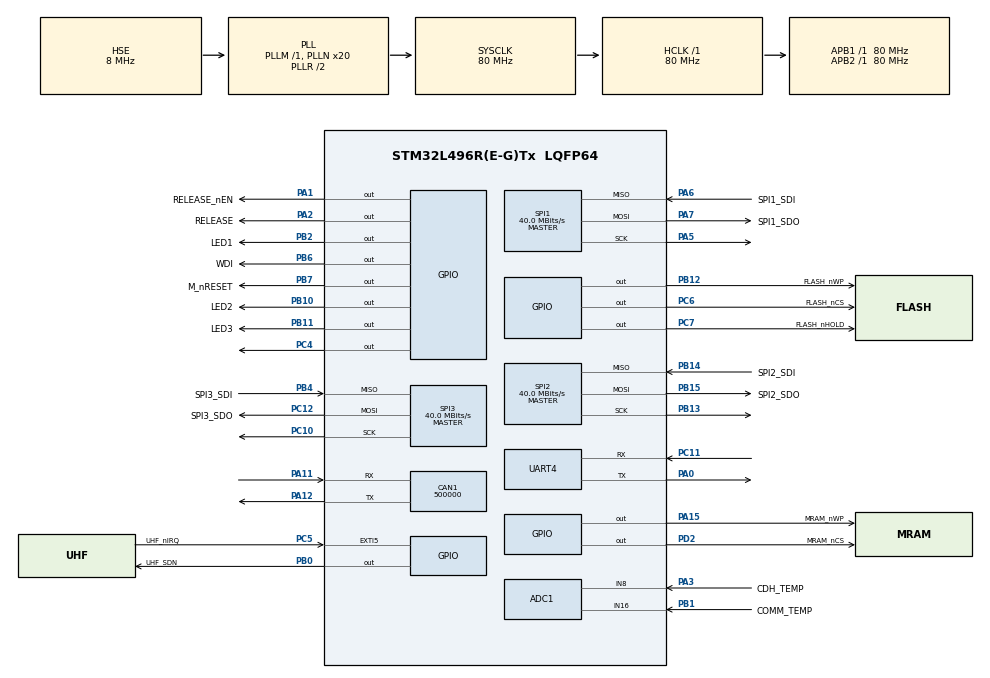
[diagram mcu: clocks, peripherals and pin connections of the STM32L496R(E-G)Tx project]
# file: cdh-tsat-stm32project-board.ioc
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ADC1.Channel-0\#ChannelRegularConversion=ADC_CHANNEL_8
ADC1.NbrOfConversionFlag=1
ADC1.OffsetNumber-0\#ChannelRegularConversion=ADC_OFFSET_NONE
ADC1.Rank-0\#ChannelRegularConversion=1
ADC1.SamplingTime-0\#ChannelRegularConversion=ADC_SAMPLETIME_2CYCLES_5
ADC1.master=1
CAN1.BS1=CAN_BS1_5TQ
CAN1.BS2=CAN_BS2_4TQ
CAN1.CalculateBaudRate=500000
CAN1.CalculateTimeBit=2000
CAN1.CalculateTimeQuantum=200.0
FREERTOS.Queues01=telemQueue,100,CANMessage,0,Dynamic,NULL,NULL;timeTagTaskInitQueue,10,CANMessage,0,Dynamic,NULL,NULL;setRTCQueue,10,CANMessage,0,Dynamic,NULL,NULL;notificationQueue,10,CANMessage,0,Dynamic,NULL,NULL
FREERTOS.Tasks01=blinkLED1,24,128,StartBlinkLED1,Default,NULL,Dynamic,NULL,NULL;blinkLED2,24,128,StartBlinkLED2,Default,NULL,Dynamic,NULL,NULL;blinkLED3,24,128,StartBlinkLED3,Default,NULL,Dynamic,NULL,NULL;toggleWDI,24,128,StartToggleWDI,Default,NULL,Dynamic,NULL,NULL;telemHandler,40,1024,StartTelemHandler,As external,NULL,Dynamic,NULL,NULL;timeTagTask,24,128,StartTimeTagTask,As external,NULL,Dynamic,NULL,NULL;stm32Reset,24,128,StartStm32Reset,Default,NULL,Dynamic,NULL,NULL;flashUnitTest,24,2048,StartFlashUnitTest,As external,NULL,Dynamic,NULL,NULL;mramUnitTest,24,256,StartMramUnitTest,As external,NULL,Dynamic,NULL,NULL;deployA,24,128,StartDeployA,As external,NULL,Dynamic,NULL,NULL;deployB,24,128,StartDeployB,As external,NULL,Dynamic,NULL,NULL;getTasksNum,24,128,StartGetTasksNum,As external,NULL,Dynamic,NULL,NULL;timeTagTaskInit,24,128,StartTimeTagTaskInit,As external,NULL,Dynamic,NULL,NULL;setRTC,24,128,StartSetRTC,As external,NULL,Dynamic,NULL,NULL;getRTC,24,128,StartGetRTC,As external,NULL,Dynamic,NULL,NULL;calculateBDot,32,128,StartBDot,As external,NULL,Dynamic,NULL,NULL;notifHandler,24,128,StartNotifHandler,As external,NULL,Dynamic,NULL,NULL;dharaUnitTest,24,256,StartDharaUnitTest,As external,NULL,Dynamic,NULL,NULL;storageUnitTest,24,256,StartStorageManagerUnitTest,As external,NULL,Dynamic,NULL,NULL
FREERTOS.configTOTAL_HEAP_SIZE=100000
FREERTOS.configUSE_NEWLIB_REENTRANT=1
Mcu.Family=STM32L4
Mcu.Name=STM32L496R(E-G)Tx
Mcu.Package=LQFP64
NVIC.CAN1_RX0_IRQn=true\:5\:0\:false\:false\:true\:true\:true\:true\:true
NVIC.PriorityGroup=NVIC_PRIORITYGROUP_4
NVIC.RTC_Alarm_IRQn=true\:5\:0\:false\:false\:true\:true\:true\:true\:true
NVIC.TIM6_DAC_IRQn=true\:15\:0\:false\:false\:true\:false\:false\:true\:true
NVIC.TimeBase=TIM6_DAC_IRQn
NVIC.TimeBaseIP=TIM6
PA0.Mode=Asynchronous
PA0.Signal=UART4_TX
PA1.GPIO_Label=RELEASE_nEN
PA1.PinState=GPIO_PIN_SET
PA1.Signal=GPIO_Output
PA11.Mode=CAN_Activate
PA11.Signal=CAN1_RX
PA12.Mode=CAN_Activate
PA12.Signal=CAN1_TX
PA13\ (JTMS/SWDIO).Mode=Trace_Asynchronous_SW
PA13\ (JTMS/SWDIO).Signal=SYS_JTMS-SWDIO
PA14\ (JTCK/SWCLK).Mode=Trace_Asynchronous_SW
PA14\ (JTCK/SWCLK).Signal=SYS_JTCK-SWCLK
PA15\ (JTDI).GPIO_Label=MRAM_nWP
PA15\ (JTDI).Signal=GPIO_Output
PA2.GPIO_Label=RELEASE
PA2.Signal=GPIO_Output
PA3.GPIO_Label=CDH_TEMP
PA3.Signal=ADCx_IN8
PA5.Mode=Full_Duplex_Master
PA5.Signal=SPI1_SCK
PA6.GPIO_Label=SPI1_SDI
PA6.Mode=Full_Duplex_Master
PA6.Signal=SPI1_MISO
PA7.GPIO_Label=SPI1_SDO
PA7.Mode=Full_Duplex_Master
PA7.Signal=SPI1_MOSI
PB0.GPIO_Label=UHF_SDN
PB0.Signal=GPIO_Output
PB1.GPIO_Label=COMM_TEMP
PB1.Signal=ADCx_IN16
PB10.GPIO_Label=LED2
PB10.Signal=GPIO_Output
PB11.GPIO_Label=LED3
PB11.Signal=GPIO_Output
PB12.GPIO_Label=FLASH_nWP
PB12.Signal=GPIO_Output
PB13.Mode=Full_Duplex_Master
PB13.Signal=SPI2_SCK
PB14.GPIO_Label=SPI2_SDI
PB14.Mode=Full_Duplex_Master
PB14.Signal=SPI2_MISO
PB15.GPIO_Label=SPI2_SDO
PB15.Mode=Full_Duplex_Master
PB15.Signal=SPI2_MOSI
PB2.GPIO_Label=LED1
PB2.Signal=GPIO_Output
PB3\ (JTDO/TRACESWO).Mode=Trace_Asynchronous_SW
PB3\ (JTDO/TRACESWO).Signal=SYS_JTDO-SWO
PB4\ (NJTRST).GPIO_Label=SPI3_SDI
PB4\ (NJTRST).Mode=Full_Duplex_Master
PB4\ (NJTRST).Signal=SPI3_MISO
PB6.GPIO_Label=WDI
PB6.Signal=GPIO_Output
PB7.GPIO_Label=M_nRESET
PB7.PinState=GPIO_PIN_SET
PB7.Signal=GPIO_Output
PC10.Mode=Full_Duplex_Master
PC10.Signal=SPI3_SCK
PC11.Mode=Asynchronous
PC11.Signal=UART4_RX
PC12.GPIO_Label=SPI3_SDO
PC12.Mode=Full_Duplex_Master
PC12.Signal=SPI3_MOSI
PC14-OSC32_IN\ (PC14).Mode=LSE-External-Oscillator
PC14-OSC32_IN\ (PC14).Signal=RCC_OSC32_IN
PC15-OSC32_OUT\ (PC15).Mode=LSE-External-Oscillator
PC15-OSC32_OUT\ (PC15).Signal=RCC_OSC32_OUT
PC4.Signal=GPIO_Output
PC5.GPIO_Label=UHF_nIRQ
PC5.Signal=GPXTI5
PC6.GPIO_Label=FLASH_nCS
PC6.PinState=GPIO_PIN_SET
PC6.Signal=GPIO_Output
PC7.GPIO_Label=FLASH_nHOLD
PC7.PinState=GPIO_PIN_SET
PC7.Signal=GPIO_Output
PD2.GPIO_Label=MRAM_nCS
PD2.PinState=GPIO_PIN_SET
PD2.Signal=GPIO_Output
PH0-OSC_IN\ (PH0).Mode=HSE-External-Oscillator
PH0-OSC_IN\ (PH0).Signal=RCC_OSC_IN
PH1-OSC_OUT\ (PH1).Mode=HSE-External-Oscillator
PH1-OSC_OUT\ (PH1).Signal=RCC_OSC_OUT
ProjectManager.HeapSize=0x200
ProjectManager.StackSize=0x400
ProjectManager.TargetToolchain=STM32CubeIDE
RCC.ADCFreq_Value=32000000
RCC.AHBFreq_Value=80000000
RCC.APB1Freq_Value=80000000
RCC.APB1TimFreq_Value=80000000
RCC.APB2Freq_Value=80000000
RCC.APB2TimFreq_Value=80000000
RCC.CortexFreq_Value=80000000
RCC.EnbaleCSS=true
RCC.HCLKFreq_Value=80000000
RCC.HSE_Timout=200
RCC.HSE_VALUE=8000000
RCC.HSI48_VALUE=48000000
RCC.HSI_VALUE=16000000
RCC.LSE_Drive_Capability=RCC_LSEDRIVE_MEDIUMHIGH
RCC.LSE_Timout=500
RCC.MSI_VALUE=4000000
RCC.PLLN=20
RCC.PLLSourceVirtual=RCC_PLLSOURCE_HSE
RCC.RTCClockSelection=RCC_RTCCLKSOURCE_LSE
RCC.SYSCLKFreq_VALUE=80000000
RCC.SYSCLKSource=RCC_SYSCLKSOURCE_PLLCLK
RCC.USBFreq_Value=32000000
RCC.VCOOutputFreq_Value=160000000
RTC.Alarm-Alarm\ A=RTC_ALARM_A
RTC.AlarmDateWeekDay-Alarm\ A=2
RTC.Format=RTC_FORMAT_BIN
SH.ADCx_IN16.0=ADC1_IN16,IN16-Single-Ended
SH.ADCx_IN8.0=ADC1_IN8,IN8-Single-Ended
SPI1.CalculateBaudRate=40.0 MBits/s
SPI1.DataSize=SPI_DATASIZE_8BIT
SPI1.Direction=SPI_DIRECTION_2LINES
SPI1.Mode=SPI_MODE_MASTER
SPI1.VirtualType=VM_MASTER
SPI2.CalculateBaudRate=40.0 MBits/s
SPI2.DataSize=SPI_DATASIZE_8BIT
SPI2.Direction=SPI_DIRECTION_2LINES
SPI2.Mode=SPI_MODE_MASTER
SPI2.VirtualType=VM_MASTER
SPI3.CalculateBaudRate=40.0 MBits/s
SPI3.DataSize=SPI_DATASIZE_8BIT
SPI3.Direction=SPI_DIRECTION_2LINES
SPI3.Mode=SPI_MODE_MASTER
SPI3.VirtualType=VM_MASTER
VP_CRC_VS_CRC.Mode=CRC_Activate
VP_FREERTOS_VS_CMSIS_V2.Mode=CMSIS_V2
VP_RTC_VS_RTC_Activate.Mode=RTC_Enabled
VP_RTC_VS_RTC_Alarm_A_Intern.Mode=Alarm A
VP_RTC_VS_RTC_Calendar.Mode=RTC_Calendar
VP_SYS_VS_tim6.Mode=TIM6
board=custom

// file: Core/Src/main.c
/* USER CODE BEGIN Header */
/**
  ******************************************************************************
  * @file           : main.c
  * @brief          : Main program body
  ******************************************************************************
  * @attention
  *
  * Copyright (c) 2024 STMicroelectronics.
  * All rights reserved.
  *
  * This software is licensed under terms that can be found in the LICENSE file
  * in the root directory of this software component.
  * If no LICENSE file comes with this software, it is provided AS-IS.
  *
  ******************************************************************************
  * AUTHORS:
  *  Daigh Burgess (daigh.burgess@umsats.ca)
  *   -Application Code
  *  Kyle James (kyle.james@umsats.ca)
  *   -RTC Interfacing
  *  Christina Duong (christina.duong@umsats.ca)
  *   -FreeRTOS Code
  */
/* USER CODE END Header */
#include "main.h"
#include "cmsis_os.h"

/* USER CODE BEGIN Includes */
#include <stdio.h>
#include <stdlib.h>

#include <tuk/tuk.h>

#include "W25N_driver.h"
#include "W25N_driver_test.h"
#include "Dhara_Wrapper.h"
#include "Dhara_test.h"
#include "StorageManager.h"
#include "AS3001204_driver.h"
#include "AS3001204_driver_test.h"
#include "LEDs_driver.h"
#include "MAX6822_driver.h"
#include "LTC1154_driver.h"
#include "telemetry.h"
#include "utils.h"
#include "rtc.h"
#include "task_control.h"
#include "bdot_algorithm.h"
#include "deployment_tasks.h"
#include "command_handling.h"
#include "notification_handling.h"
/* USER CODE END Includes */

ADC_HandleTypeDef hadc1;

CAN_HandleTypeDef hcan1;

CRC_HandleTypeDef hcrc;

RTC_HandleTypeDef hrtc;

SPI_HandleTypeDef hspi1;
SPI_HandleTypeDef hspi2;
SPI_HandleTypeDef hspi3;

UART_HandleTypeDef huart4;

/* Definitions for blinkLED1 */
osThreadId_t blinkLED1Handle;
const osThreadAttr_t blinkLED1_attributes = {
  .name = "blinkLED1",
  .stack_size = 128 * 4,
  .priority = (osPriority_t) osPriorityNormal,
};
/* Definitions for blinkLED2 */
osThreadId_t blinkLED2Handle;
const osThreadAttr_t blinkLED2_attributes = {
  .name = "blinkLED2",
  .stack_size = 128 * 4,
  .priority = (osPriority_t) osPriorityNormal,
};
/* Definitions for blinkLED3 */
osThreadId_t blinkLED3Handle;
const osThreadAttr_t blinkLED3_attributes = {
  .name = "blinkLED3",
  .stack_size = 128 * 4,
  .priority = (osPriority_t) osPriorityNormal,
};
/* Definitions for toggleWDI */
osThreadId_t toggleWDIHandle;
const osThreadAttr_t toggleWDI_attributes = {
  .name = "toggleWDI",
  .stack_size = 128 * 4,
  .priority = (osPriority_t) osPriorityNormal,
};
/* Definitions for telemHandler */
osThreadId_t telemHandlerHandle;
const osThreadAttr_t telemHandler_attributes = {
  .name = "telemHandler",
  .stack_size = 1024 * 4,
  .priority = (osPriority_t) osPriorityHigh,
};
/* Definitions for timeTagTask */
osThreadId_t timeTagTaskHandle;
const osThreadAttr_t timeTagTask_attributes = {
  .name = "timeTagTask",
  .stack_size = 128 * 4,
  .priority = (osPriority_t) osPriorityNormal,
};
/* Definitions for stm32Reset */
osThreadId_t stm32ResetHandle;
const osThreadAttr_t stm32Reset_attributes = {
  .name = "stm32Reset",
  .stack_size = 128 * 4,
  .priority = (osPriority_t) osPriorityNormal,
};
/* Definitions for flashUnitTest */
osThreadId_t flashUnitTestHandle;
const osThreadAttr_t flashUnitTest_attributes = {
  .name = "flashUnitTest",
  .stack_size = 2048 * 4,
  .priority = (osPriority_t) osPriorityNormal,
};
/* Definitions for mramUnitTest */
osThreadId_t mramUnitTestHandle;
const osThreadAttr_t mramUnitTest_attributes = {
  .name = "mramUnitTest",
  .stack_size = 256 * 4,
  .priority = (osPriority_t) osPriorityNormal,
};
/* Definitions for deployA */
osThreadId_t deployAHandle;
const osThreadAttr_t deployA_attributes = {
  .name = "deployA",
  .stack_size = 128 * 4,
  .priority = (osPriority_t) osPriorityNormal,
};
/* Definitions for deployB */
osThreadId_t deployBHandle;
const osThreadAttr_t deployB_attributes = {
  .name = "deployB",
  .stack_size = 128 * 4,
  .priority = (osPriority_t) osPriorityNormal,
};
/* Definitions for getTasksNum */
osThreadId_t getTasksNumHandle;
const osThreadAttr_t getTasksNum_attributes = {
  .name = "getTasksNum",
  .stack_size = 128 * 4,
  .priority = (osPriority_t) osPriorityNormal,
};
/* Definitions for timeTagTaskInit */
osThreadId_t timeTagTaskInitHandle;
const osThreadAttr_t timeTagTaskInit_attributes = {
  .name = "timeTagTaskInit",
  .stack_size = 128 * 4,
  .priority = (osPriority_t) osPriorityNormal,
};
/* Definitions for setRTC */
osThreadId_t setRTCHandle;
const osThreadAttr_t setRTC_attributes = {
  .name = "setRTC",
  .stack_size = 128 * 4,
  .priority = (osPriority_t) osPriorityNormal,
};
/* Definitions for getRTC */
osThreadId_t getRTCHandle;
const osThreadAttr_t getRTC_attributes = {
  .name = "getRTC",
  .stack_size = 128 * 4,
  .priority = (osPriority_t) osPriorityNormal,
};
/* Definitions for calculateBDot */
osThreadId_t calculateBDotHandle;
const osThreadAttr_t calculateBDot_attributes = {
  .name = "calculateBDot",
  .stack_size = 128 * 4,
  .priority = (osPriority_t) osPriorityAboveNormal,
};
/* Definitions for notifHandler */
osThreadId_t notifHandlerHandle;
const osThreadAttr_t notifHandler_attributes = {
  .name = "notifHandler",
  .stack_size = 128 * 4,
  .priority = (osPriority_t) osPriorityNormal,
};
/* Definitions for dharaUnitTest */
osThreadId_t dharaUnitTestHandle;
const osThreadAttr_t dharaUnitTest_attributes = {
  .name = "dharaUnitTest",
  .stack_size = 256 * 4,
  .priority = (osPriority_t) osPriorityNormal,
};
/* Definitions for storageUnitTest */
osThreadId_t storageUnitTestHandle;
const osThreadAttr_t storageUnitTest_attributes = {
  .name = "storageUnitTest",
  .stack_size = 256 * 4,
  .priority = (osPriority_t) osPriorityNormal,
};
/* Definitions for telemQueue */
osMessageQueueId_t telemQueueHandle;
const osMessageQueueAttr_t telemQueue_attributes = {
  .name = "telemQueue"
};
/* Definitions for timeTagTaskInitQueue */
osMessageQueueId_t timeTagTaskInitQueueHandle;
const osMessageQueueAttr_t timeTagTaskInitQueue_attributes = {
  .name = "timeTagTaskInitQueue"
};
/* Definitions for setRTCQueue */
osMessageQueueId_t setRTCQueueHandle;
const osMessageQueueAttr_t setRTCQueue_attributes = {
  .name = "setRTCQueue"
};
/* Definitions for notificationQueue */
osMessageQueueId_t notificationQueueHandle;
const osMessageQueueAttr_t notificationQueue_attributes = {
  .name = "notificationQueue"
};

void SystemClock_Config(void);
static void MX_GPIO_Init(void);
static void MX_ADC1_Init(void);
static void MX_CAN1_Init(void);
static void MX_SPI1_Init(void);
static void MX_SPI2_Init(void);
static void MX_SPI3_Init(void);
static void MX_CRC_Init(void);
static void MX_RTC_Init(void);
static void MX_UART4_Init(void);
void StartBlinkLED1(void *argument);
void StartBlinkLED2(void *argument);
void StartBlinkLED3(void *argument);
void StartToggleWDI(void *argument);
extern void StartTelemHandler(void *argument);
extern void StartTimeTagTask(void *argument);
void StartStm32Reset(void *argument);
extern void StartFlashUnitTest(void *argument);
extern void StartMramUnitTest(void *argument);
extern void StartDeployA(void *argument);
extern void StartDeployB(void *argument);
extern void StartGetTasksNum(void *argument);
extern void StartTimeTagTaskInit(void *argument);
extern void StartSetRTC(void *argument);
extern void StartGetRTC(void *argument);
extern void StartBDot(void *argument);
extern void StartNotifHandler(void *argument);
extern void StartDharaUnitTest(void *argument);
extern void StartStorageManagerUnitTest(void *argument);

int main(void)
{

  /* MCU Configuration--------------------------------------------------------*/

  /* Reset of all peripherals, Initializes the Flash interface and the Systick. */
  HAL_Init();

  /* Configure the system clock */
  SystemClock_Config();

  /* Initialize all configured peripherals */
  MX_GPIO_Init();
  MX_ADC1_Init();
  MX_CAN1_Init();
  MX_SPI1_Init();
  MX_SPI2_Init();
  MX_SPI3_Init();
  MX_CRC_Init();
  MX_RTC_Init();
  MX_UART4_Init();
  /* USER CODE BEGIN 2 */
  //disable the automatically enabled RTC alarm
  HAL_StatusTypeDef rtc_alarm_operation_status;
  rtc_alarm_operation_status = HAL_RTC_DeactivateAlarm(&hrtc, RTC_ALARM_A);
  if (rtc_alarm_operation_status != HAL_OK) goto error;

  MAX6822_Init();

  LEDs_Init();

  LTC1154_Init();

  W25N_StatusTypeDef w25n_operation_status;
  w25n_operation_status = W25N_Init();
  if (w25n_operation_status != W25N_HAL_OK) goto error;

  HAL_StatusTypeDef as3001204_operation_status;
  as3001204_operation_status = AS3001204_Init();
  if (as3001204_operation_status != HAL_OK) goto error;

  //this code performs the W25N unit tests
  //this code should be completed after power cycling the W25N
  /*w25n_operation_status = Test_W25N();
  if (w25n_operation_status != W25N_HAL_OK) goto error;
  w25n_operation_status = W25N_Reset_And_Init();
  if (w25n_operation_status != W25N_HAL_OK) goto error;*/

  //this code performs the AS3001204 unit tests
  //this code should be completed after power cycling the AS3001204
  /*as3001204_operation_status = AS3001204_Test_MRAM_Driver();
  if (as3001204_operation_status != HAL_OK) goto error;
  as3001204_operation_status = AS3001204_Init();
  if (as3001204_operation_status != HAL_OK) goto error;*/

  //###############################################################################################
    //Library Initialization
    //###############################################################################################

    //this code initializes the Dhara Library
    dhara_error_t dhara_status=DHARA_E_NONE;
    dhara_status=Dhara_Init();
    if(dhara_status!=DHARA_E_NONE&&dhara_status!=DHARA_E_NOT_FOUND) goto error;
    dhara_status=DHARA_E_NONE;

    //this code initializes the Storage Manager
    if(!Storage_Init()) goto error;

    //###############################################################################################
    //Library Unit Tests
    //###############################################################################################

    //this code performs the Dhara library tests
//    dhara_status=Dhara_Test();
//    if(dhara_status!=DHARA_E_NONE) goto error;

    //this code performs the Storage Manager Test
//    uint8_t temp[7] = {0};
//    Storage_Append(TELEM, temp, 7);
//    if(!Storage_Unit_Test(temp, 7)) goto error;

  /* USER CODE END 2 */

  /* Init scheduler */
  osKernelInitialize();

  /* Create the queue(s) */
  /* creation of telemQueue */
  telemQueueHandle = osMessageQueueNew (100, sizeof(CANMessage), &telemQueue_attributes);

  /* creation of timeTagTaskInitQueue */
  timeTagTaskInitQueueHandle = osMessageQueueNew (10, sizeof(CANMessage), &timeTagTaskInitQueue_attributes);

  /* creation of setRTCQueue */
  setRTCQueueHandle = osMessageQueueNew (10, sizeof(CANMessage), &setRTCQueue_attributes);

  /* creation of notificationQueue */
  notificationQueueHandle = osMessageQueueNew (10, sizeof(CANMessage), &notificationQueue_attributes);

  /* Create the thread(s) */
  /* creation of blinkLED1 */
  blinkLED1Handle = osThreadNew(StartBlinkLED1, NULL, &blinkLED1_attributes);

  /* creation of blinkLED2 */
  blinkLED2Handle = osThreadNew(StartBlinkLED2, NULL, &blinkLED2_attributes);

  /* creation of blinkLED3 */
  blinkLED3Handle = osThreadNew(StartBlinkLED3, NULL, &blinkLED3_attributes);

  /* creation of toggleWDI */
  toggleWDIHandle = osThreadNew(StartToggleWDI, NULL, &toggleWDI_attributes);

  /* creation of telemHandler */
  telemHandlerHandle = osThreadNew(StartTelemHandler, NULL, &telemHandler_attributes);

  /* creation of timeTagTask */
  timeTagTaskHandle = osThreadNew(StartTimeTagTask, NULL, &timeTagTask_attributes);

  /* creation of stm32Reset */
  stm32ResetHandle = osThreadNew(StartStm32Reset, NULL, &stm32Reset_attributes);

  /* creation of flashUnitTest */
  flashUnitTestHandle = osThreadNew(StartFlashUnitTest, NULL, &flashUnitTest_attributes);

  /* creation of mramUnitTest */
  mramUnitTestHandle = osThreadNew(StartMramUnitTest, NULL, &mramUnitTest_attributes);

  /* creation of deployA */
  deployAHandle = osThreadNew(StartDeployA, NULL, &deployA_attributes);

  /* creation of deployB */
  deployBHandle = osThreadNew(StartDeployB, NULL, &deployB_attributes);

  /* creation of getTasksNum */
  getTasksNumHandle = osThreadNew(StartGetTasksNum, NULL, &getTasksNum_attributes);

  /* creation of timeTagTaskInit */
  timeTagTaskInitHandle = osThreadNew(StartTimeTagTaskInit, NULL, &timeTagTaskInit_attributes);

  /* creation of setRTC */
  setRTCHandle = osThreadNew(StartSetRTC, NULL, &setRTC_attributes);

  /* creation of getRTC */
  getRTCHandle = osThreadNew(StartGetRTC, NULL, &getRTC_attributes);

  /* creation of calculateBDot */
  calculateBDotHandle = osThreadNew(StartBDot, NULL, &calculateBDot_attributes);

  /* creation of notifHandler */
  notifHandlerHandle = osThreadNew(StartNotifHandler, NULL, &notifHandler_attributes);

  /* creation of dharaUnitTest */
  dharaUnitTestHandle = osThreadNew(StartDharaUnitTest, NULL, &dharaUnitTest_attributes);

  /* creation of storageUnitTest */
  storageUnitTestHandle = osThreadNew(StartStorageManagerUnitTest, NULL, &storageUnitTest_attributes);

  /* USER CODE BEGIN RTOS_THREADS */
  // Initialise CAN Wrapper Module.
  const CANWrapper_InitTypeDef CAN_WRAPPER_CONFIG = {
		  .node_id = NODE_CDH,
		  .message_callback = On_CAN_Message_Ready,
		  .error_callback = On_CAN_Error
  };
  CANWrapper_Init(&CAN_WRAPPER_CONFIG);
  CANWrapper_CAN_Start(&hcan1);
  /* add threads, ... */
  /* USER CODE END RTOS_THREADS */

  /* Start scheduler */
  osKernelStart();

  /* We should never get here as control is now taken by the scheduler */
  /* Infinite loop */
  while (1)
  {

    /* USER CODE BEGIN 3 */
  }

error:
  exit(1);
  /* USER CODE END 3 */
}

void SystemClock_Config(void)
{
  RCC_OscInitTypeDef RCC_OscInitStruct = {0};
  RCC_ClkInitTypeDef RCC_ClkInitStruct = {0};

  /** Configure the main internal regulator output voltage
  */
  if (HAL_PWREx_ControlVoltageScaling(PWR_REGULATOR_VOLTAGE_SCALE1) != HAL_OK)
  {
    Error_Handler();
  }

  /** Configure LSE Drive Capability
  */
  HAL_PWR_EnableBkUpAccess();
  __HAL_RCC_LSEDRIVE_CONFIG(RCC_LSEDRIVE_MEDIUMHIGH);

  /** Initializes the RCC Oscillators according to the specified parameters
  * in the RCC_OscInitTypeDef structure.
  */
  RCC_OscInitStruct.OscillatorType = RCC_OSCILLATORTYPE_HSE|RCC_OSCILLATORTYPE_LSE;
  RCC_OscInitStruct.HSEState = RCC_HSE_ON;
  RCC_OscInitStruct.LSEState = RCC_LSE_ON;
  RCC_OscInitStruct.PLL.PLLState = RCC_PLL_ON;
  RCC_OscInitStruct.PLL.PLLSource = RCC_PLLSOURCE_HSE;
  RCC_OscInitStruct.PLL.PLLM = 1;
  RCC_OscInitStruct.PLL.PLLN = 20;
  RCC_OscInitStruct.PLL.PLLP = RCC_PLLP_DIV2;
  RCC_OscInitStruct.PLL.PLLQ = RCC_PLLQ_DIV2;
  RCC_OscInitStruct.PLL.PLLR = RCC_PLLR_DIV2;
  if (HAL_RCC_OscConfig(&RCC_OscInitStruct) != HAL_OK)
  {
    Error_Handler();
  }

  /** Initializes the CPU, AHB and APB buses clocks
  */
  RCC_ClkInitStruct.ClockType = RCC_CLOCKTYPE_HCLK|RCC_CLOCKTYPE_SYSCLK
                              |RCC_CLOCKTYPE_PCLK1|RCC_CLOCKTYPE_PCLK2;
  RCC_ClkInitStruct.SYSCLKSource = RCC_SYSCLKSOURCE_PLLCLK;
  RCC_ClkInitStruct.AHBCLKDivider = RCC_SYSCLK_DIV1;
  RCC_ClkInitStruct.APB1CLKDivider = RCC_HCLK_DIV1;
  RCC_ClkInitStruct.APB2CLKDivider = RCC_HCLK_DIV1;

  if (HAL_RCC_ClockConfig(&RCC_ClkInitStruct, FLASH_LATENCY_4) != HAL_OK)
  {
    Error_Handler();
  }

  /** Enables the Clock Security System
  */
  HAL_RCC_EnableCSS();
}

static void MX_ADC1_Init(void)
{

  ADC_MultiModeTypeDef multimode = {0};
  ADC_ChannelConfTypeDef sConfig = {0};

  /** Common config
  */
  hadc1.Instance = ADC1;
  hadc1.Init.ClockPrescaler = ADC_CLOCK_ASYNC_DIV1;
  hadc1.Init.Resolution = ADC_RESOLUTION_12B;
  hadc1.Init.DataAlign = ADC_DATAALIGN_RIGHT;
  hadc1.Init.ScanConvMode = ADC_SCAN_DISABLE;
  hadc1.Init.EOCSelection = ADC_EOC_SINGLE_CONV;
  hadc1.Init.LowPowerAutoWait = DISABLE;
  hadc1.Init.ContinuousConvMode = DISABLE;
  hadc1.Init.NbrOfConversion = 1;
  hadc1.Init.DiscontinuousConvMode = DISABLE;
  hadc1.Init.ExternalTrigConv = ADC_SOFTWARE_START;
  hadc1.Init.ExternalTrigConvEdge = ADC_EXTERNALTRIGCONVEDGE_NONE;
  hadc1.Init.DMAContinuousRequests = DISABLE;
  hadc1.Init.Overrun = ADC_OVR_DATA_PRESERVED;
  hadc1.Init.OversamplingMode = DISABLE;
  if (HAL_ADC_Init(&hadc1) != HAL_OK)
  {
    Error_Handler();
  }

  /** Configure the ADC multi-mode
  */
  multimode.Mode = ADC_MODE_INDEPENDENT;
  if (HAL_ADCEx_MultiModeConfigChannel(&hadc1, &multimode) != HAL_OK)
  {
    Error_Handler();
  }

  /** Configure Regular Channel
  */
  sConfig.Channel = ADC_CHANNEL_8;
  sConfig.Rank = ADC_REGULAR_RANK_1;
  sConfig.SamplingTime = ADC_SAMPLETIME_2CYCLES_5;
  sConfig.SingleDiff = ADC_SINGLE_ENDED;
  sConfig.OffsetNumber = ADC_OFFSET_NONE;
  sConfig.Offset = 0;
  if (HAL_ADC_ConfigChannel(&hadc1, &sConfig) != HAL_OK)
  {
    Error_Handler();
  }

}

static void MX_CAN1_Init(void)
{

  hcan1.Instance = CAN1;
  hcan1.Init.Prescaler = 16;
  hcan1.Init.Mode = CAN_MODE_NORMAL;
  hcan1.Init.SyncJumpWidth = CAN_SJW_1TQ;
  hcan1.Init.TimeSeg1 = CAN_BS1_5TQ;
  hcan1.Init.TimeSeg2 = CAN_BS2_4TQ;
  hcan1.Init.TimeTriggeredMode = DISABLE;
  hcan1.Init.AutoBusOff = DISABLE;
  hcan1.Init.AutoWakeUp = DISABLE;
  hcan1.Init.AutoRetransmission = DISABLE;
  hcan1.Init.ReceiveFifoLocked = DISABLE;
  hcan1.Init.TransmitFifoPriority = DISABLE;
  if (HAL_CAN_Init(&hcan1) != HAL_OK)
  {
    Error_Handler();
  }

}

static void MX_CRC_Init(void)
{

  hcrc.Instance = CRC;
  hcrc.Init.DefaultPolynomialUse = DEFAULT_POLYNOMIAL_ENABLE;
  hcrc.Init.DefaultInitValueUse = DEFAULT_INIT_VALUE_ENABLE;
  hcrc.Init.InputDataInversionMode = CRC_INPUTDATA_INVERSION_NONE;
  hcrc.Init.OutputDataInversionMode = CRC_OUTPUTDATA_INVERSION_DISABLE;
  hcrc.InputDataFormat = CRC_INPUTDATA_FORMAT_BYTES;
  if (HAL_CRC_Init(&hcrc) != HAL_OK)
  {
    Error_Handler();
  }

}

static void MX_RTC_Init(void)
{

  RTC_TimeTypeDef sTime = {0};
  RTC_DateTypeDef sDate = {0};
  RTC_AlarmTypeDef sAlarm = {0};

  /** Initialize RTC Only
  */
  hrtc.Instance = RTC;
  hrtc.Init.HourFormat = RTC_HOURFORMAT_24;
  hrtc.Init.AsynchPrediv = 127;
  hrtc.Init.SynchPrediv = 255;
  hrtc.Init.OutPut = RTC_OUTPUT_DISABLE;
  hrtc.Init.OutPutRemap = RTC_OUTPUT_REMAP_NONE;
  hrtc.Init.OutPutPolarity = RTC_OUTPUT_POLARITY_HIGH;
  hrtc.Init.OutPutType = RTC_OUTPUT_TYPE_OPENDRAIN;
  if (HAL_RTC_Init(&hrtc) != HAL_OK)
  {
    Error_Handler();
  }

  /** Initialize RTC and set the Time and Date
  */
  sTime.Hours = 0;
  sTime.Minutes = 0;
  sTime.Seconds = 0;
  sTime.DayLightSaving = RTC_DAYLIGHTSAVING_NONE;
  sTime.StoreOperation = RTC_STOREOPERATION_RESET;
  if (HAL_RTC_SetTime(&hrtc, &sTime, RTC_FORMAT_BIN) != HAL_OK)
  {
    Error_Handler();
  }
  sDate.WeekDay = RTC_WEEKDAY_MONDAY;
  sDate.Month = RTC_MONTH_JANUARY;
  sDate.Date = 1;
  sDate.Year = 0;

  if (HAL_RTC_SetDate(&hrtc, &sDate, RTC_FORMAT_BIN) != HAL_OK)
  {
    Error_Handler();
  }

  /** Enable the Alarm A
  */
  sAlarm.AlarmTime.Hours = 0;
  sAlarm.AlarmTime.Minutes = 0;
  sAlarm.AlarmTime.Seconds = 0;
  sAlarm.AlarmTime.SubSeconds = 0;
  sAlarm.AlarmTime.DayLightSaving = RTC_DAYLIGHTSAVING_NONE;
  sAlarm.AlarmTime.StoreOperation = RTC_STOREOPERATION_RESET;
  sAlarm.AlarmMask = RTC_ALARMMASK_NONE;
  sAlarm.AlarmSubSecondMask = RTC_ALARMSUBSECONDMASK_ALL;
  sAlarm.AlarmDateWeekDaySel = RTC_ALARMDATEWEEKDAYSEL_DATE;
  sAlarm.AlarmDateWeekDay = 2;
  sAlarm.Alarm = RTC_ALARM_A;
  if (HAL_RTC_SetAlarm_IT(&hrtc, &sAlarm, RTC_FORMAT_BIN) != HAL_OK)
  {
    Error_Handler();
  }

}

static void MX_SPI1_Init(void)
{

  /* SPI1 parameter configuration*/
  hspi1.Instance = SPI1;
  hspi1.Init.Mode = SPI_MODE_MASTER;
  hspi1.Init.Direction = SPI_DIRECTION_2LINES;
  hspi1.Init.DataSize = SPI_DATASIZE_8BIT;
  hspi1.Init.CLKPolarity = SPI_POLARITY_LOW;
  hspi1.Init.CLKPhase = SPI_PHASE_1EDGE;
  hspi1.Init.NSS = SPI_NSS_SOFT;
  hspi1.Init.BaudRatePrescaler = SPI_BAUDRATEPRESCALER_2;
  hspi1.Init.FirstBit = SPI_FIRSTBIT_MSB;
  hspi1.Init.TIMode = SPI_TIMODE_DISABLE;
  hspi1.Init.CRCCalculation = SPI_CRCCALCULATION_DISABLE;
  hspi1.Init.CRCPolynomial = 7;
  hspi1.Init.CRCLength = SPI_CRC_LENGTH_DATASIZE;
  hspi1.Init.NSSPMode = SPI_NSS_PULSE_ENABLE;
  if (HAL_SPI_Init(&hspi1) != HAL_OK)
  {
    Error_Handler();
  }

}

static void MX_SPI2_Init(void)
{

  /* SPI2 parameter configuration*/
  hspi2.Instance = SPI2;
  hspi2.Init.Mode = SPI_MODE_MASTER;
  hspi2.Init.Direction = SPI_DIRECTION_2LINES;
  hspi2.Init.DataSize = SPI_DATASIZE_8BIT;
  hspi2.Init.CLKPolarity = SPI_POLARITY_LOW;
  hspi2.Init.CLKPhase = SPI_PHASE_1EDGE;
  hspi2.Init.NSS = SPI_NSS_SOFT;
  hspi2.Init.BaudRatePrescaler = SPI_BAUDRATEPRESCALER_2;
  hspi2.Init.FirstBit = SPI_FIRSTBIT_MSB;
  hspi2.Init.TIMode = SPI_TIMODE_DISABLE;
  hspi2.Init.CRCCalculation = SPI_CRCCALCULATION_DISABLE;
  hspi2.Init.CRCPolynomial = 7;
  hspi2.Init.CRCLength = SPI_CRC_LENGTH_DATASIZE;
  hspi2.Init.NSSPMode = SPI_NSS_PULSE_ENABLE;
  if (HAL_SPI_Init(&hspi2) != HAL_OK)
  {
    Error_Handler();
  }

}

static void MX_SPI3_Init(void)
{

  /* SPI3 parameter configuration*/
  hspi3.Instance = SPI3;
  hspi3.Init.Mode = SPI_MODE_MASTER;
  hspi3.Init.Direction = SPI_DIRECTION_2LINES;
  hspi3.Init.DataSize = SPI_DATASIZE_8BIT;
  hspi3.Init.CLKPolarity = SPI_POLARITY_LOW;
  hspi3.Init.CLKPhase = SPI_PHASE_1EDGE;
  hspi3.Init.NSS = SPI_NSS_SOFT;
  hspi3.Init.BaudRatePrescaler = SPI_BAUDRATEPRESCALER_2;
  hspi3.Init.FirstBit = SPI_FIRSTBIT_MSB;
  hspi3.Init.TIMode = SPI_TIMODE_DISABLE;
  hspi3.Init.CRCCalculation = SPI_CRCCALCULATION_DISABLE;
  hspi3.Init.CRCPolynomial = 7;
  hspi3.Init.CRCLength = SPI_CRC_LENGTH_DATASIZE;
  hspi3.Init.NSSPMode = SPI_NSS_PULSE_ENABLE;
  if (HAL_SPI_Init(&hspi3) != HAL_OK)
  {
    Error_Handler();
  }

}

static void MX_UART4_Init(void)
{

  huart4.Instance = UART4;
  huart4.Init.BaudRate = 115200;
  huart4.Init.WordLength = UART_WORDLENGTH_8B;
  huart4.Init.StopBits = UART_STOPBITS_1;
  huart4.Init.Parity = UART_PARITY_NONE;
  huart4.Init.Mode = UART_MODE_TX_RX;
  huart4.Init.HwFlowCtl = UART_HWCONTROL_NONE;
  huart4.Init.OverSampling = UART_OVERSAMPLING_16;
  huart4.Init.OneBitSampling = UART_ONE_BIT_SAMPLE_DISABLE;
  huart4.AdvancedInit.AdvFeatureInit = UART_ADVFEATURE_NO_INIT;
  if (HAL_UART_Init(&huart4) != HAL_OK)
  {
    Error_Handler();
  }

}

static void MX_GPIO_Init(void)
{
  GPIO_InitTypeDef GPIO_InitStruct = {0};

  /* GPIO Ports Clock Enable */
  __HAL_RCC_GPIOC_CLK_ENABLE();
  __HAL_RCC_GPIOH_CLK_ENABLE();
  __HAL_RCC_GPIOA_CLK_ENABLE();
  __HAL_RCC_GPIOB_CLK_ENABLE();
  __HAL_RCC_GPIOD_CLK_ENABLE();

  /*Configure GPIO pin Output Level */
  HAL_GPIO_WritePin(RELEASE_nEN_GPIO_Port, RELEASE_nEN_Pin, GPIO_PIN_SET);

  /*Configure GPIO pin Output Level */
  HAL_GPIO_WritePin(GPIOA, RELEASE_Pin|MRAM_nWP_Pin, GPIO_PIN_RESET);

  /*Configure GPIO pin Output Level */
  HAL_GPIO_WritePin(GPIOC, GPIO_PIN_4, GPIO_PIN_RESET);

  /*Configure GPIO pin Output Level */
  HAL_GPIO_WritePin(GPIOB, UHF_SDN_Pin|LED1_Pin|LED2_Pin|LED3_Pin
                          |FLASH_nWP_Pin|WDI_Pin, GPIO_PIN_RESET);

  /*Configure GPIO pin Output Level */
  HAL_GPIO_WritePin(GPIOC, FLASH_nCS_Pin|FLASH_nHOLD_Pin, GPIO_PIN_SET);

  /*Configure GPIO pin Output Level */
  HAL_GPIO_WritePin(MRAM_nCS_GPIO_Port, MRAM_nCS_Pin, GPIO_PIN_SET);

  /*Configure GPIO pin Output Level */
  HAL_GPIO_WritePin(M_nRESET_GPIO_Port, M_nRESET_Pin, GPIO_PIN_SET);

  /*Configure GPIO pins : RELEASE_nEN_Pin RELEASE_Pin MRAM_nWP_Pin */
  GPIO_InitStruct.Pin = RELEASE_nEN_Pin|RELEASE_Pin|MRAM_nWP_Pin;
  GPIO_InitStruct.Mode = GPIO_MODE_OUTPUT_PP;
  GPIO_InitStruct.Pull = GPIO_NOPULL;
  GPIO_InitStruct.Speed = GPIO_SPEED_FREQ_LOW;
  HAL_GPIO_Init(GPIOA, &GPIO_InitStruct);

  /*Configure GPIO pins : PC4 FLASH_nCS_Pin FLASH_nHOLD_Pin */
  GPIO_InitStruct.Pin = GPIO_PIN_4|FLASH_nCS_Pin|FLASH_nHOLD_Pin;
  GPIO_InitStruct.Mode = GPIO_MODE_OUTPUT_PP;
  GPIO_InitStruct.Pull = GPIO_NOPULL;
  GPIO_InitStruct.Speed = GPIO_SPEED_FREQ_LOW;
  HAL_GPIO_Init(GPIOC, &GPIO_InitStruct);

  /*Configure GPIO pin : UHF_nIRQ_Pin */
  GPIO_InitStruct.Pin = UHF_nIRQ_Pin;
  GPIO_InitStruct.Mode = GPIO_MODE_IT_RISING;
  GPIO_InitStruct.Pull = GPIO_NOPULL;
  HAL_GPIO_Init(UHF_nIRQ_GPIO_Port, &GPIO_InitStruct);

  /*Configure GPIO pins : UHF_SDN_Pin LED1_Pin LED2_Pin LED3_Pin
                           FLASH_nWP_Pin WDI_Pin M_nRESET_Pin */
  GPIO_InitStruct.Pin = UHF_SDN_Pin|LED1_Pin|LED2_Pin|LED3_Pin
                          |FLASH_nWP_Pin|WDI_Pin|M_nRESET_Pin;
  GPIO_InitStruct.Mode = GPIO_MODE_OUTPUT_PP;
  GPIO_InitStruct.Pull = GPIO_NOPULL;
  GPIO_InitStruct.Speed = GPIO_SPEED_FREQ_LOW;
  HAL_GPIO_Init(GPIOB, &GPIO_InitStruct);

  /*Configure GPIO pin : MRAM_nCS_Pin */
  GPIO_InitStruct.Pin = MRAM_nCS_Pin;
  GPIO_InitStruct.Mode = GPIO_MODE_OUTPUT_PP;
  GPIO_InitStruct.Pull = GPIO_NOPULL;
  GPIO_InitStruct.Speed = GPIO_SPEED_FREQ_LOW;
  HAL_GPIO_Init(MRAM_nCS_GPIO_Port, &GPIO_InitStruct);

}

/* USER CODE BEGIN 4 */
//###############################################################################################
//Interrupt Service Routines
//###############################################################################################
/**
  * @brief  RTC alarm A callback
  * @param  hrtc: pointer to a RTC_HandleTypeDef structure that contains
  *         the configuration information for the specified RTC.
  * @retval None
  */
void HAL_RTC_AlarmAEventCallback(RTC_HandleTypeDef *hrtc)
{
  osThreadFlagsSet(timeTagTaskHandle, 0x0001);
}
/* USER CODE END 4 */

void StartBlinkLED1(void *argument)
{
  /* USER CODE BEGIN 5 */
  /* Infinite loop */
  for(;;)
  {
    LED1_Toggle();
    osDelay(1000);
  }
  osThreadExit();
  /* USER CODE END 5 */
}

void StartBlinkLED2(void *argument)
{
  /* USER CODE BEGIN StartBlinkLED2 */
  /* Infinite loop */
  for(;;)
  {
    LED2_Toggle();
    osDelay(500);
  }
  osThreadExit();
  /* USER CODE END StartBlinkLED2 */
}

void StartBlinkLED3(void *argument)
{
  /* USER CODE BEGIN StartBlinkLED3 */
  /* Infinite loop */
  for(;;)
  {
    LED3_Toggle();
    osDelay(250);
  }
  osThreadExit();
  /* USER CODE END StartBlinkLED3 */
}

void StartToggleWDI(void *argument)
{
  /* USER CODE BEGIN StartToggleWDI */
  /* Infinite loop */
  for(;;)
  {
	MAX6822_WDI_Toggle();
	osDelay(100);
  }
  /* USER CODE END StartToggleWDI */
}

void StartStm32Reset(void *argument)
{
  /* USER CODE BEGIN StartStm32Reset */
  /* Infinite loop */
  for(;;)
  {
    //block until thread resumed from command handler
    osThreadFlagsWait(0x0001, osFlagsWaitAny, osWaitForever);

    MAX6822_Manual_Reset();
  }
  osThreadExit();
  /* USER CODE END StartStm32Reset */
}

void HAL_TIM_PeriodElapsedCallback(TIM_HandleTypeDef *htim)
{
  if (htim->Instance == TIM6) {
    HAL_IncTick();
  }
}

void Error_Handler(void)
{
  __disable_irq();
  while (1)
  {
  }
}
